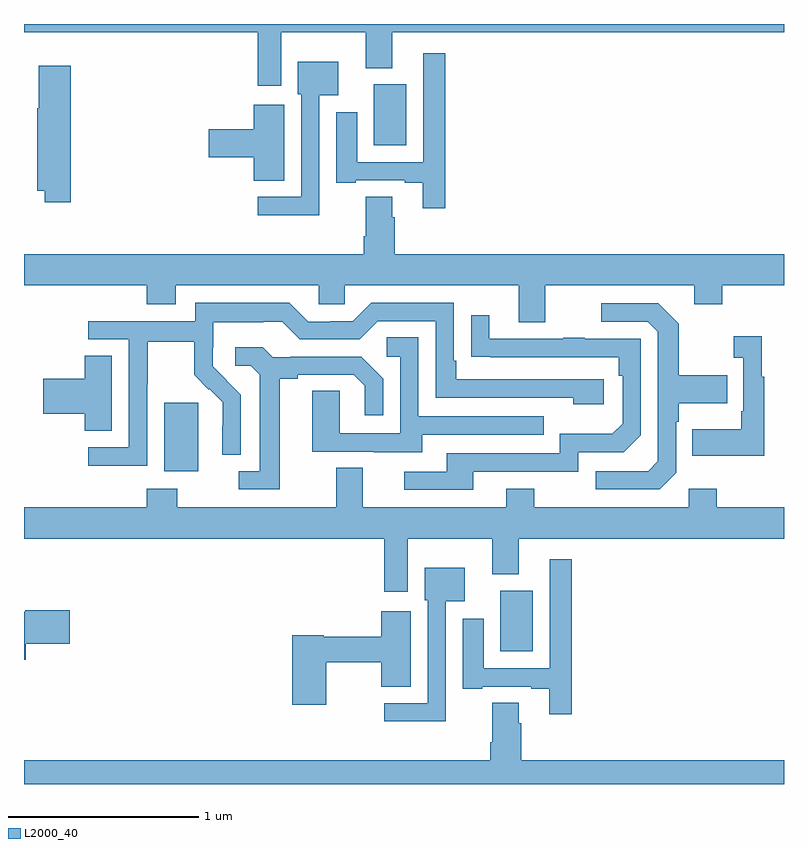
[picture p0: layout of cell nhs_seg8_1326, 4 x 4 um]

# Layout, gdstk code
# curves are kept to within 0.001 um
import gdstk
lib = gdstk.Library(unit=1e-6, precision=1e-09)
def R(c, l, rs):  # rectangles x0, y0, x1, y1
    for r in rs: c.add(gdstk.rectangle(r[:2], r[2:], *l))
def P(c, l, *ps):  # polygons
    for p in ps: c.add(gdstk.Polygon(p, *l))
L2000_40 = (2000, 40)

nhs_seg8_1326 = lib.new_cell('nhs_seg8_1326')
R(nhs_seg8_1326, L2000_40, [(197.507,1090.598,197.677,1090.918), (195.737,1091.546,195.916,1091.907), (196.841,1093.262,197.011,1093.582)])
P(nhs_seg8_1326, L2000_40, [(196.354,1093.856),(196.799,1093.856),(196.799,1093.667),(196.939,1093.667),(196.939,1093.856),(199,1093.856),(199,1093.9),(195,1093.9),(195,1093.856),(196.229,1093.856),(196.229,1093.575),(196.354,1093.575)],
  [(197.216,1093.747),(197.1,1093.747),(197.1,1093.173),(196.753,1093.173),(196.753,1093.435),(196.643,1093.435),(196.643,1093.065),(196.747,1093.065),(196.747,1093.077),(197.003,1093.077),(197.003,1093.065),(197.099,1093.065),(197.099,1092.93),(197.216,1092.93)],
  [(196.554,1093.526),(196.654,1093.526),(196.654,1093.702),(196.442,1093.702),(196.442,1093.53),(196.458,1093.53),(196.458,1092.99),(196.23,1092.99),(196.23,1092.893),(196.554,1092.893)],
  [(195.245,1093.681),(195.077,1093.681),(195.077,1093.457),(195.07,1093.457),(195.07,1093.022),(195.11,1093.022),(195.11,1092.963),(195.245,1092.963)],
  [(196.369,1093.474),(196.208,1093.474),(196.208,1093.346),(195.972,1093.346),(195.972,1093.199),(196.208,1093.199),(196.208,1093.075),(196.369,1093.075)],
  [(197.743,1092.524),(198.527,1092.524),(198.527,1092.425),(198.675,1092.425),(198.675,1092.524),(199,1092.524),(199,1092.688),(196.952,1092.688),(196.952,1092.884),(196.939,1092.884),(196.939,1092.992),(196.799,1092.992),(196.799,1092.784),(196.787,1092.784),(196.787,1092.688),(195,1092.688),(195,1092.524),(195.647,1092.524),(195.647,1092.425),(195.799,1092.425),(195.799,1092.524),(196.551,1092.524),(196.551,1092.426),(196.689,1092.426),(196.689,1092.524),(197.603,1092.524),(197.603,1092.33),(197.743,1092.33)],
  [(195.648,1092.004),(195.651,1092.004),(195.651,1092.228),(195.895,1092.228),(195.895,1092.053),(195.972,1091.976),(195.975,1091.979),(196.046,1091.909),(196.046,1091.786),(196.044,1091.786),(196.044,1091.632),(196.14,1091.632),(196.14,1091.95),(195.994,1092.098),(195.994,1092.195),(195.996,1092.195),(195.996,1092.329),(196.259,1092.329),(196.259,1092.333),(196.359,1092.333),(196.452,1092.24),(196.767,1092.24),(196.863,1092.336),(197.166,1092.336),(197.166,1091.934),(197.891,1091.934),(197.891,1091.9),(198.052,1091.9),(198.052,1092.03),(197.275,1092.03),(197.275,1092.127),(197.262,1092.127),(197.262,1092.432),(196.827,1092.432),(196.731,1092.336),(196.613,1092.336),(196.613,1092.333),(196.497,1092.333),(196.397,1092.433),(195.9,1092.433),(195.9,1092.336),(195.339,1092.336),(195.339,1092.24),(195.552,1092.24),(195.552,1091.673),(195.339,1091.673),(195.339,1091.575),(195.648,1091.575)],
  [(198.432,1091.538),(198.432,1091.807),(198.445,1091.807),(198.445,1091.903),(198.701,1091.903),(198.701,1092.051),(198.445,1092.051),(198.445,1092.323),(198.339,1092.429),(198.039,1092.429),(198.039,1092.333),(198.282,1092.333),(198.336,1092.279),(198.336,1091.598),(198.285,1091.547),(198.009,1091.547),(198.009,1091.451),(198.345,1091.451)],
  [(197.365,1091.544),(197.916,1091.544),(197.916,1091.646),(198.156,1091.646),(198.246,1091.736),(198.246,1092.243),(197.951,1092.243),(197.951,1092.248),(197.839,1092.248),(197.839,1092.243),(197.449,1092.243),(197.449,1092.367),(197.353,1092.367),(197.353,1092.148),(198.13,1092.147),(198.13,1092.05),(198.15,1092.05),(198.15,1091.796),(198.097,1091.743),(197.82,1091.743),(197.82,1091.64),(197.225,1091.64),(197.225,1091.544),(197.001,1091.544),(197.001,1091.448),(197.365,1091.448)],
  [(198.895,1092.043),(198.883,1092.043),(198.883,1092.256),(198.735,1092.256),(198.735,1092.143),(198.786,1092.143),(198.786,1091.863),(198.774,1091.863),(198.774,1091.767),(198.517,1091.767),(198.517,1091.627),(198.895,1091.627)],
  [(197.095,1091.739),(197.735,1091.739),(197.735,1091.835),(197.076,1091.835),(197.076,1092.251),(196.908,1092.251),(196.908,1092.15),(196.98,1092.15),(196.98,1091.745),(196.662,1091.745),(196.662,1091.969),(196.517,1091.969),(196.517,1091.649),(196.841,1091.649),(196.841,1091.645),(197.095,1091.645)],
  [(196.345,1092.032),(196.441,1092.032),(196.441,1092.054),(196.736,1092.054),(196.793,1091.997),(196.793,1091.841),(196.89,1091.841),(196.89,1092.034),(196.774,1092.15),(196.402,1092.15),(196.402,1092.147),(196.308,1092.147),(196.256,1092.199),(196.113,1092.199),(196.113,1092.102),(196.194,1092.102),(196.241,1092.055),(196.241,1091.547),(196.131,1091.547),(196.131,1091.451),(196.345,1091.451)],
  [(195.463,1092.155),(195.32,1092.155),(195.32,1092.032),(195.102,1092.032),(195.102,1091.849),(195.32,1091.849),(195.32,1091.758),(195.463,1091.758)],
  [(197.02,1091.192),(197.465,1091.192),(197.465,1091.003),(197.605,1091.003),(197.605,1091.192),(199,1091.192),(199,1091.356),(198.645,1091.356),(198.645,1091.455),(198.498,1091.455),(198.498,1091.356),(197.685,1091.356),(197.685,1091.455),(197.537,1091.455),(197.537,1091.356),(196.783,1091.356),(196.783,1091.564),(196.643,1091.564),(196.643,1091.356),(195.807,1091.356),(195.807,1091.455),(195.647,1091.455),(195.647,1091.356),(195,1091.356),(195,1091.192),(196.895,1091.192),(196.895,1090.911),(197.02,1090.911)],
  [(197.882,1091.083),(197.766,1091.083),(197.766,1090.509),(197.419,1090.509),(197.419,1090.771),(197.309,1090.771),(197.309,1090.401),(197.413,1090.401),(197.413,1090.413),(197.669,1090.413),(197.669,1090.401),(197.765,1090.401),(197.765,1090.266),(197.882,1090.266)],
  [(197.22,1090.862),(197.32,1090.862),(197.32,1091.038),(197.108,1091.038),(197.108,1090.866),(197.124,1090.866),(197.124,1090.326),(196.896,1090.326),(196.896,1090.229),(197.22,1090.229)],
  [(195.01,1090.637),(195.241,1090.637),(195.241,1090.815),(195.006,1090.815),(195.006,1090.807),(195,1090.807),(195,1090.553),(195.01,1090.553)],
  [(196.59,1090.54),(196.879,1090.54),(196.879,1090.411),(197.035,1090.411),(197.035,1090.81),(196.879,1090.81),(196.879,1090.676),(196.578,1090.676),(196.578,1090.684),(196.412,1090.684),(196.412,1090.317),(196.59,1090.317)],
  [(199,1090.024),(197.618,1090.024),(197.618,1090.22),(197.605,1090.22),(197.605,1090.328),(197.465,1090.328),(197.465,1090.12),(197.453,1090.12),(197.453,1090.024),(195,1090.024),(195,1089.9),(199,1089.9)])

lib.write_gds('nhs_seg8_1326.gds')
